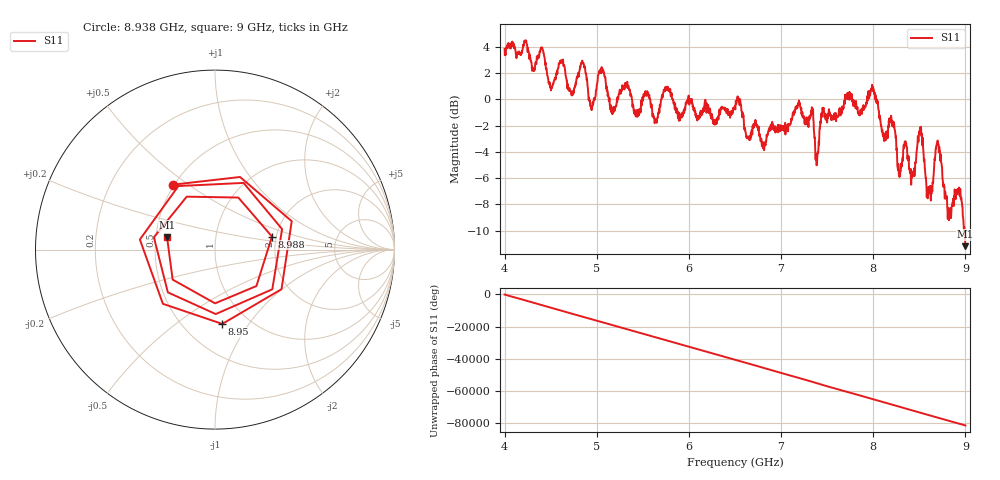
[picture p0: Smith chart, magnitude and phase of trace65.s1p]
! Created with skrf 1.8.0 (http://scikit-rf.org).
# Hz S RI R 50.0
!freq ReS11 ImS11
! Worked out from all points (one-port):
!   1601 points, 4 GHz to 9 GHz, reference 50 ohm
!   lowest |S11| = -11.2 dB at 9 GHz (marker M1), VSWR 1.76, Z = 28.7 + j4.27 ohm
!   |S11| at or under -10 dB: 8.989522 GHz to end of sweep
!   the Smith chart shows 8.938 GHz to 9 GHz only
!   S11 on the Smith chart (normalised r, x): 8.938 GHz: 0.49, +0.44; 8.95 GHz: 0.76, -0.76; 8.988 GHz: 1.90, +0.31; 9 GHz: 0.57, +0.09
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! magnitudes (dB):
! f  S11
! 4 GHz  3.8
! 4.625 GHz  2.9
! 4.725 GHz  0.3
! 4.85 GHz  2.7
! 4.938 GHz  -0.6
! 5.047 GHz  2.0
! 5.25 GHz  0.7
! 5.875 GHz  -1.1
! 6.5 GHz  -0.5
! 6.812 GHz  -3.8
! 7.125 GHz  -1.2
! 7.328 GHz  -0.9
! 7.388 GHz  -5.0
! 7.45 GHz  -0.7
! 7.75 GHz  0.5
! 8 GHz  0.8
! 8.116 GHz  -3.1
! 8.216 GHz  -2.0
! 8.284 GHz  -5.9
! 8.375 GHz  -4.3
! 8.516 GHz  -2.2
! 8.606 GHz  -6.9
! 8.7 GHz  -3.1
! 8.825 GHz  -9.1
! 8.938 GHz  -7.3
! 8.95 GHz  -7.6
! 8.988 GHz  -9.7
! 9 GHz  -11.2
